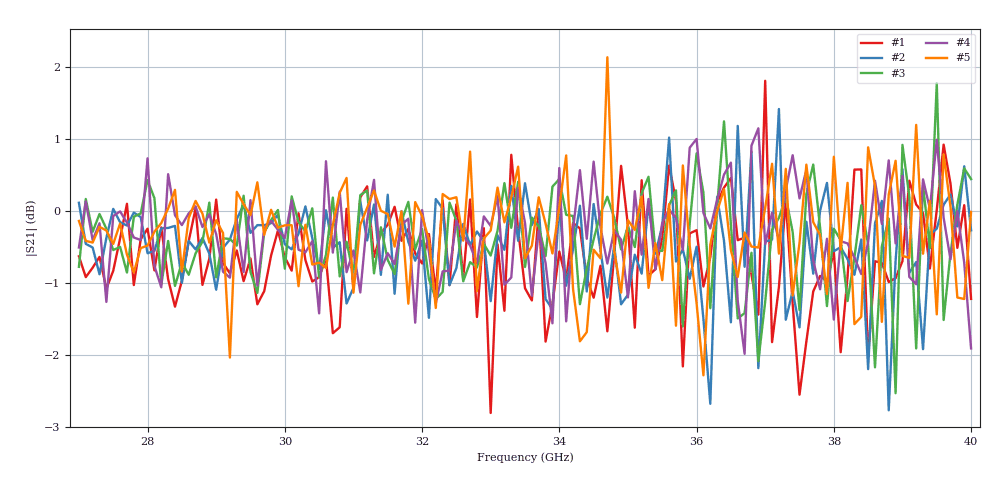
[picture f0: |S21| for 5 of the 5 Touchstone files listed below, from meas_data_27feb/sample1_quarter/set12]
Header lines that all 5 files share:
! Period : +2.00000E-04
! Input Supply timing : delay=+1.60000E-06 width=+2.20000E-06
! Output Supply timing : delay=+1.70000E-06 width=+2.00000E-06
! VNA timing : delay=+2.40000E-06 width=+1.10000E-06
# Hz S RI R 50
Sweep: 27 GHz to 40 GHz
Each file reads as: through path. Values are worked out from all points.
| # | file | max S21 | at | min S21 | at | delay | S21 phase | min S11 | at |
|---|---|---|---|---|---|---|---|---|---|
| 1 | set12_31_5_11gap_.s2p | 1.80 dB | 37 GHz | -2.8 dB | 33 GHz | 18.3 ps | 136 deg at 33.5 GHz | -29.9 dB | 36.2 GHz |
| 2 | set12_31_5_13gap_.s2p | 1.41 dB | 37.2 GHz | -2.8 dB | 38.8 GHz | 18.6 ps | 140 deg at 33.5 GHz | -33.2 dB | 38.4 GHz |
| 3 | set12_31_5_15gap_.s2p | 1.77 dB | 39.5 GHz | -2.5 dB | 38.9 GHz | 18.3 ps | 139 deg at 33.5 GHz | -29.7 dB | 36.5 GHz |
| 4 | set12_31_5_18gap_.s2p | 1.14 dB | 36.9 GHz | -2.0 dB | 36.7 GHz | 18.7 ps | 149 deg at 33.5 GHz | -44.2 dB | 34.2 GHz |
| 5 | set12_31_5_20gap_.s2p | 2.13 dB | 34.7 GHz | -2.3 dB | 36.1 GHz | 17.9 ps | 140 deg at 33.5 GHz | -35.0 dB | 35.2 GHz |
